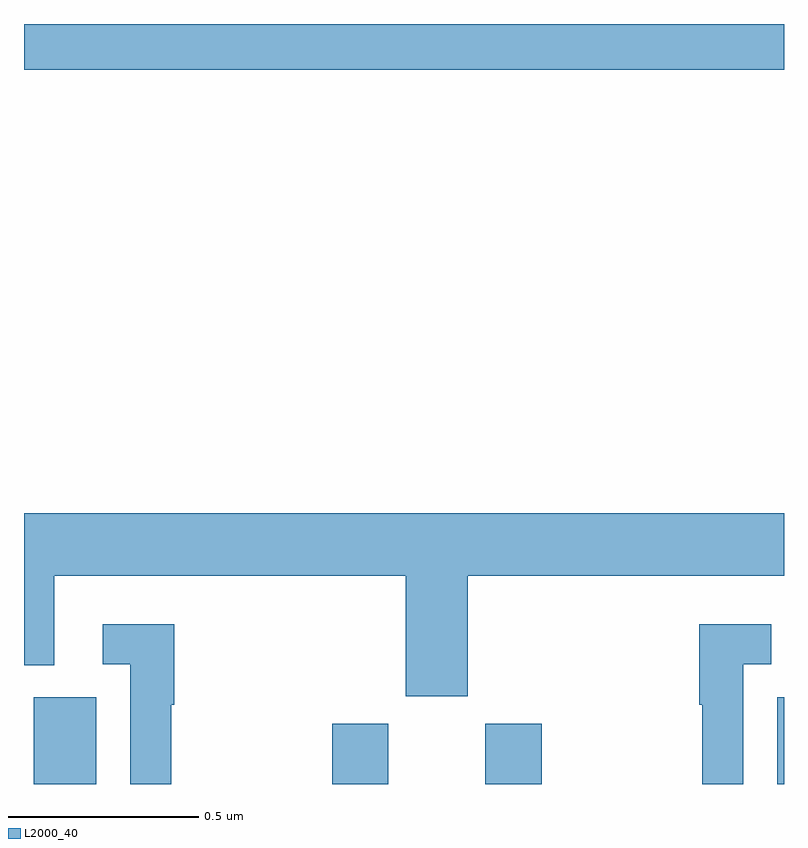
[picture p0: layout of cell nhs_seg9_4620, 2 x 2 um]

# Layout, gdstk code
import gdstk
lib = gdstk.Library(unit=1e-6, precision=1e-09)
def R(c, l, rs):  # rectangles x0, y0, x1, y1
    for r in rs: c.add(gdstk.rectangle(r[:2], r[2:], *l))
def P(c, l, *ps):  # polygons
    for p in ps: c.add(gdstk.Polygon(p, *l))
L2000_40 = (2000, 40)

nhs_seg9_4620 = lib.new_cell('nhs_seg9_4620')
R(nhs_seg9_4620, L2000_40, [(168.026,1234.5,168.19,1234.728), (168.811,1234.5,168.958,1234.659), (169.214,1234.5,169.362,1234.659), (169.982,1234.5,170,1234.728), (168,1236.38,170,1236.5)])
P(nhs_seg9_4620, L2000_40, [(169.168,1235.048),(170,1235.048),(170,1235.212),(168,1235.212),(168,1234.813),(168.079,1234.813),(168.079,1235.048),(169.004,1235.048),(169.004,1234.731),(169.168,1234.731)],
  [(169.893,1234.815),(169.966,1234.815),(169.966,1234.921),(169.777,1234.921),(169.777,1234.708),(169.785,1234.708),(169.785,1234.5),(169.893,1234.5)],
  [(168.388,1234.708),(168.395,1234.708),(168.395,1234.921),(168.207,1234.921),(168.207,1234.815),(168.279,1234.815),(168.279,1234.5),(168.388,1234.5)])

lib.write_gds('nhs_seg9_4620.gds')
